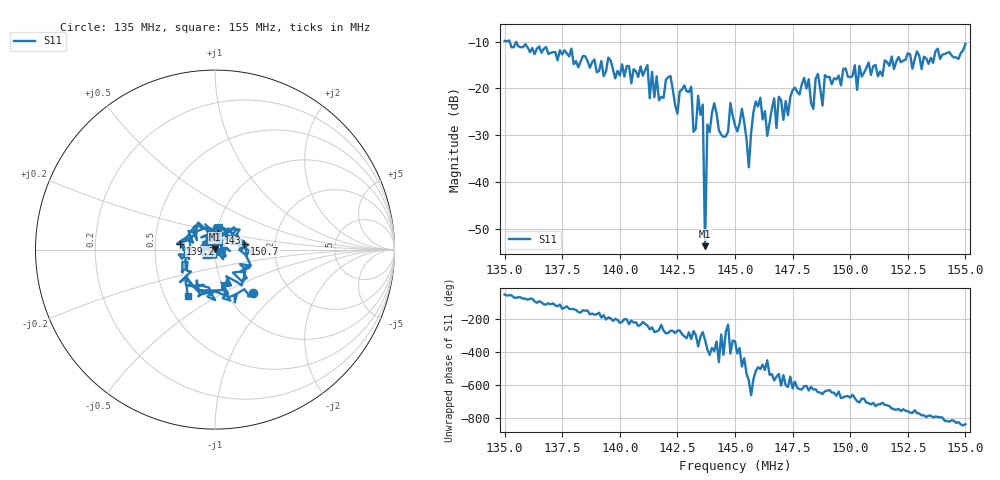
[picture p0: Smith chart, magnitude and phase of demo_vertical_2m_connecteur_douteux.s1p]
! Ground-plane 2 m, connecteur PL douteux (mesure bruitee)
! Fichier de demonstration simule - Analyseur ROS NanoVNA F4CVQ
# HZ S RI R 50
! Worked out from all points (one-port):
!   201 points, 135 MHz to 155 MHz, reference 50 ohm
!   lowest |S11| = -53.6 dB at 143.7 MHz (marker M1), VSWR 1.00, Z = 50.2 + j0.117 ohm
!   |S11| at or under -10 dB: 135.2 MHz to end of sweep
!   S11 on the Smith chart (normalised r, x): 135 MHz: 1.32, -0.71; 139.2 MHz: 0.67, +0.05; 143 MHz: 1.02, +0.19; 150.7 MHz: 1.38, +0.09; 155 MHz: 0.65, -0.37
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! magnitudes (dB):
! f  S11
! 135 MHz  -9.8
! 137.5 MHz  -12.7
! 139.2 MHz  -14.1
! 140 MHz  -17.2
! 141.2 MHz  -15.0
! 141.7 MHz  -22.5
! 142.2 MHz  -17.3
! 142.5 MHz  -25.4
! 143 MHz  -20.7
! 143.1 MHz  -19.6
! 143.2 MHz  -29.2
! 143.6 MHz  -23.4
! 143.7 MHz  -53.6
! 143.8 MHz  -27.7
! 145 MHz  -27.9
! 145.3 MHz  -24.3
! 145.6 MHz  -36.8
! 145.9 MHz  -22.8
! 146.4 MHz  -30.1
! 146.7 MHz  -22.1
! 146.8 MHz  -28.4
! 146.9 MHz  -21.8
! 147.1 MHz  -26.7
! 147.5 MHz  -20.3
! 150 MHz  -17.6
! 150.7 MHz  -15.6
! 152.5 MHz  -12.5
! 155 MHz  -10.5
